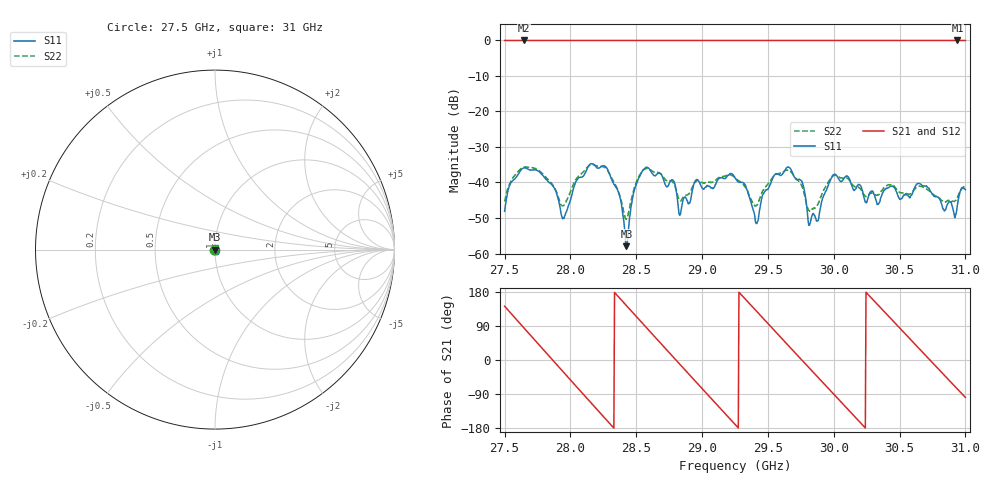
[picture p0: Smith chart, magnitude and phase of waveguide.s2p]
#  HZ  S  DB  R  50.00
! freq[Hz]  db:S11  ang:S11  db:S21  ang:S21  db:S12  ang:S12  db:S22  ang:S22
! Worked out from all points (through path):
!   701 points, 27.5 GHz to 31 GHz, reference 50 ohm
!   highest |S21| = -0.11 dB at 30.94 GHz (marker M1); lowest = -0.1 dB at 27.64 GHz (marker M2)
!   lowest |S11| = -57.9 dB at 28.43 GHz (marker M3), VSWR 1.00, Z = 50.1 - j0.0367 ohm
!   |S11| at or under -10 dB: start of sweep to end of sweep
!   |S22| runs from -50.3 to -34.9 dB; largest |S21 - S12| = 0.0022
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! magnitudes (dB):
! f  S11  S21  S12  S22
! 27.5 GHz  -48.1  -0.1  -0.1  -45.3
! 27.64 GHz  -35.9  -0.1  -0.1  -35.7
! 27.86 GHz  -41.0  -0.1  -0.1  -40.7
! 27.95 GHz  -50.1  -0.1  -0.1  -46.6
! 28.09 GHz  -38.5  -0.1  -0.1  -37.5
! 28.27 GHz  -35.9  -0.1  -0.1  -36.3
! 28.37 GHz  -43.3  -0.1  -0.1  -43.2
! 28.43 GHz  -57.9  -0.1  -0.1  -50.3
! 28.53 GHz  -38.0  -0.1  -0.1  -37.7
! 28.67 GHz  -37.4  -0.1  -0.1  -37.2
! 28.79 GHz  -39.6  -0.1  -0.1  -40.4
! 28.84 GHz  -49.0  -0.1  -0.1  -45.2
! 28.95 GHz  -39.3  -0.1  -0.1  -39.6
! 29.25 GHz  -38.7  -0.1  -0.1  -38.7
! 29.41 GHz  -51.6  -0.1  -0.1  -46.3
! 29.66 GHz  -35.8  -0.1  -0.1  -36.6
! 29.84 GHz  -49.4  -0.1  -0.1  -47.5
! 30 GHz  -37.7  -0.1  -0.1  -38.0
! 30.25 GHz  -45.6  -0.1  -0.1  -44.0
! 30.42 GHz  -41.4  -0.1  -0.1  -40.7
! 30.94 GHz  -46.2  -0.1  -0.1  -44.1
! 31 GHz  -42.1  -0.1  -0.1  -41.1
